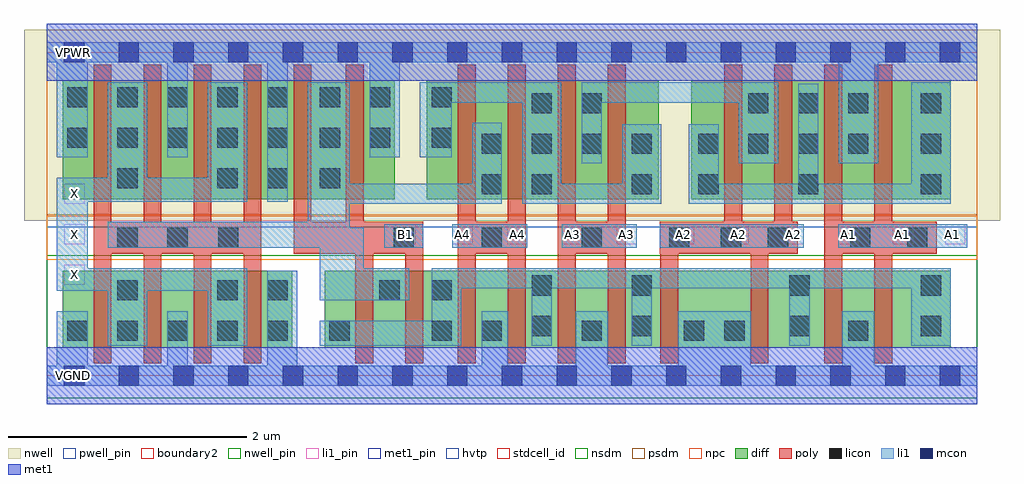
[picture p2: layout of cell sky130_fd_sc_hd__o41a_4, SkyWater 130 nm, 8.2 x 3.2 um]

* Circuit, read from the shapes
.subckt sky130_fd_sc_hd__o41a_4 A1 A2 A3 A4 B1 VGND VNB VPB VPWR X
XM1 X n1 VGND VNB sky130_fd_pr__nfet_01v8 w=0.65 l=0.15 m=4
XM2 n1 B1 n2 VNB sky130_fd_pr__nfet_01v8 w=0.65 l=0.15 m=2
XM3 VGND A4 n2 VNB sky130_fd_pr__nfet_01v8 w=0.65 l=0.15 m=2
XM4 VGND A3 n2 VNB sky130_fd_pr__nfet_01v8 w=0.65 l=0.15 m=2
XM5 VGND A2 n2 VNB sky130_fd_pr__nfet_01v8 w=0.65 l=0.15 m=2
XM6 VGND A1 n2 VNB sky130_fd_pr__nfet_01v8 w=0.65 l=0.15 m=2
XM7 X n1 VPWR VPB sky130_fd_pr__pfet_01v8_hvt w=1 l=0.15 m=4
XM8 n1 B1 VPWR VPB sky130_fd_pr__pfet_01v8_hvt w=1 l=0.15 m=2
XM9 n1 A4 n3 VPB sky130_fd_pr__pfet_01v8_hvt w=1 l=0.15 m=2
XM10 n4 A3 n3 VPB sky130_fd_pr__pfet_01v8_hvt w=1 l=0.15 m=2
XM11 n4 A2 n5 VPB sky130_fd_pr__pfet_01v8_hvt w=1 l=0.15 m=2
XM12 VPWR A1 n5 VPB sky130_fd_pr__pfet_01v8_hvt w=1 l=0.15 m=2
.ends

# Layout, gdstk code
import gdstk
lib = gdstk.Library(unit=1e-6, precision=1e-09)
def R(c, l, rs):  # rectangles x0, y0, x1, y1
    for r in rs: c.add(gdstk.rectangle(r[:2], r[2:], *l))
def A(c, l, x, y, w, h, nx, ny, dx, dy):  # array of equal rectangles
    R(c, l, [(x+i*dx, y+j*dy, x+i*dx+w, y+j*dy+h) for i in range(nx) for j in range(ny)])
def P(c, l, *ps):  # polygons
    for p in ps: c.add(gdstk.Polygon(p, *l))
nwell_pin = (64, 16)
nwell = (64, 20)
diff = (65, 20)
poly = (66, 20)
licon = (66, 44)
li1_pin = (67, 16)
li1 = (67, 20)
mcon = (67, 44)
met1_pin = (68, 16)
met1 = (68, 20)
hvtp = (78, 44)
stdcell_id = (81, 4)
nsdm = (93, 44)
psdm = (94, 20)
npc = (95, 20)
pwell_pin = (122, 16)
boundary2 = (236, 0)

sky130_fd_sc_hd__o41a_4 = lib.new_cell('sky130_fd_sc_hd__o41a_4')
R(sky130_fd_sc_hd__o41a_4, nwell_pin, [(0.15,2.635,0.32,2.805)])
R(sky130_fd_sc_hd__o41a_4, nwell, [(-0.19,1.305,8.01,2.91)])
R(sky130_fd_sc_hd__o41a_4, diff, [(0.135,0.235,2.065,0.885), (2.335,0.235,7.595,0.885), (0.135,1.485,2.925,2.485), (3.195,1.485,5.145,2.485), (5.415,1.485,7.595,2.485)])
P(sky130_fd_sc_hd__o41a_4, poly, [(3.455,0.105),(3.455,2.615),(3.605,2.615),(3.605,1.295),(3.875,1.295),(3.875,2.615),(4.025,2.615),(4.025,0.105),(3.875,0.105),(3.875,1.025),(3.605,1.025),(3.605,0.105)],
  [(4.295,0.105),(4.295,2.615),(4.445,2.615),(4.445,1.295),(4.715,1.295),(4.715,2.615),(4.865,2.615),(4.865,0.105),(4.715,0.105),(4.715,1.025),(4.445,1.025),(4.445,0.105)],
  [(2.595,0.105),(2.595,1.025),(2.075,1.025),(2.075,2.615),(2.225,2.615),(2.225,1.295),(2.515,1.295),(2.515,2.615),(2.665,2.615),(2.665,1.295),(3.165,1.295),(3.165,0.105),(3.015,0.105),(3.015,1.025),(2.745,1.025),(2.745,0.105)],
  [(6.535,0.105),(6.535,2.615),(6.685,2.615),(6.685,1.295),(6.955,1.295),(6.955,2.615),(7.105,2.615),(7.105,1.295),(7.48,1.295),(7.48,1.025),(7.105,1.025),(7.105,0.105),(6.955,0.105),(6.955,1.025),(6.685,1.025),(6.685,0.105)],
  [(5.155,0.105),(5.155,1.025),(5.15,1.025),(5.15,1.295),(5.695,1.295),(5.695,2.615),(5.845,2.615),(5.845,1.295),(6.115,1.295),(6.115,2.615),(6.265,2.615),(6.265,1.295),(6.31,1.295),(6.31,1.025),(6.065,1.025),(6.065,0.105),(5.915,0.105),(5.915,1.025),(5.305,1.025),(5.305,0.105)],
  [(0.395,0.105),(0.395,2.615),(0.545,2.615),(0.545,1.295),(0.815,1.295),(0.815,2.615),(0.965,2.615),(0.965,1.295),(1.235,1.295),(1.235,2.615),(1.385,2.615),(1.385,1.295),(1.655,1.295),(1.655,2.615),(1.805,2.615),(1.805,0.105),(1.655,0.105),(1.655,1.025),(1.385,1.025),(1.385,0.105),(1.235,0.105),(1.235,1.025),(0.965,1.025),(0.965,0.105),(0.815,0.105),(0.815,1.025),(0.545,1.025),(0.545,0.105)])
A(sky130_fd_sc_hd__o41a_4, licon, 0.175, 0.295, 0.17, 0.17, 5, 2, 0.42, 1.62)
A(sky130_fd_sc_hd__o41a_4, licon, 7.345, 1.525, 0.17, 0.17, 1, 3, 0, 0.34)
A(sky130_fd_sc_hd__o41a_4, licon, 2.295, 1.575, 0.17, 0.17, 1, 3, 0, 0.34)
A(sky130_fd_sc_hd__o41a_4, licon, 3.655, 1.865, 0.17, 0.17, 4, 1, 0.42, 0)
A(sky130_fd_sc_hd__o41a_4, licon, 5.475, 1.865, 0.17, 0.17, 4, 1, 0.42, 0)
A(sky130_fd_sc_hd__o41a_4, licon, 5.895, 2.205, 0.17, 0.17, 3, 1, 0.42, 0)
A(sky130_fd_sc_hd__o41a_4, licon, 0.175, 2.255, 0.17, 0.17, 5, 1, 0.42, 0)
R(sky130_fd_sc_hd__o41a_4, licon, [(2.375,0.295,2.545,0.465), (3.235,0.295,3.405,0.465), (3.655,0.295,3.825,0.465), (4.495,0.295,4.665,0.465), (5.355,0.295,5.525,0.465), (5.695,0.295,5.865,0.465), (6.735,0.295,6.905,0.465), (4.075,0.335,4.245,0.505), (4.915,0.335,5.085,0.505), (6.24,0.335,6.41,0.505), (7.345,0.335,7.515,0.505), (0.595,0.635,0.765,0.805), (1.435,0.635,1.605,0.805), (1.855,0.635,2.025,0.805), (2.795,0.635,2.965,0.805), (3.235,0.635,3.405,0.805), (4.075,0.675,4.245,0.845), (4.915,0.675,5.085,0.845), (6.24,0.675,6.41,0.845), (7.345,0.675,7.515,0.845), (0.595,1.075,0.765,1.245), (1.015,1.075,1.185,1.245), (1.44,1.075,1.61,1.245), (2.915,1.075,3.085,1.245), (3.655,1.075,3.825,1.245), (4.495,1.075,4.665,1.245), (5.23,1.075,5.4,1.245), (5.665,1.075,5.835,1.245), (6.06,1.075,6.23,1.245), (6.75,1.075,6.92,1.245), (7.23,1.075,7.4,1.245), (3.655,1.525,3.825,1.695), (4.075,1.525,4.245,1.695), (4.915,1.525,5.085,1.695), (5.475,1.525,5.645,1.695), (6.315,1.525,6.485,1.695), (0.595,1.575,0.765,1.745), (1.435,1.575,1.605,1.745), (1.855,1.575,2.025,1.745), (2.715,1.915,2.885,2.085), (3.235,1.915,3.405,2.085), (4.075,2.205,4.245,2.375), (4.495,2.205,4.665,2.375), (2.715,2.255,2.885,2.425), (3.235,2.255,3.405,2.425)])
A(sky130_fd_sc_hd__o41a_4, li1_pin, 0.15, 0.765, 0.17, 0.17, 1, 3, 0, 0.34)
A(sky130_fd_sc_hd__o41a_4, li1_pin, 3.41, 1.105, 0.17, 0.17, 4, 1, 0.46, 0)
A(sky130_fd_sc_hd__o41a_4, li1_pin, 5.27, 1.105, 0.17, 0.17, 5, 1, 0.46, 0)
R(sky130_fd_sc_hd__o41a_4, li1_pin, [(2.93,1.105,3.1,1.275), (7.55,1.105,7.72,1.275)])
R(sky130_fd_sc_hd__o41a_4, li1, [(2.835,1.075,3.165,1.275), (3.41,1.075,4.04,1.275), (4.33,1.075,4.96,1.275), (5.15,1.075,6.36,1.275), (6.65,1.075,7.735,1.275)])
P(sky130_fd_sc_hd__o41a_4, li1, [(0,-0.085),(0,0.085),(0.085,0.085),(0.085,0.545),(0.345,0.545),(0.345,0.085),(1.015,0.085),(1.015,0.545),(1.185,0.545),(1.185,0.085),(1.855,0.085),(1.855,0.885),(2.105,0.885),(2.105,0.085),(3.655,0.085),(3.655,0.545),(3.875,0.545),(3.875,0.085),(4.445,0.085),(4.445,0.545),(4.715,0.545),(4.715,0.085),(5.305,0.085),(5.305,0.545),(5.915,0.545),(5.915,0.085),(6.685,0.085),(6.685,0.545),(6.955,0.545),(6.955,0.085),(7.82,0.085),(7.82,-0.085)],
  [(1.855,1.465),(1.855,2.635),(1.185,2.635),(1.185,1.835),(1.015,1.835),(1.015,2.635),(0.345,2.635),(0.345,1.835),(0.085,1.835),(0.085,2.635),(0,2.635),(0,2.805),(7.82,2.805),(7.82,2.635),(6.985,2.635),(6.985,1.785),(6.655,1.785),(6.655,2.635),(2.965,2.635),(2.965,1.835),(2.715,1.835),(2.715,2.635),(2.025,2.635),(2.025,1.465)],
  [(2.295,0.255),(2.295,0.465),(3.235,0.465),(3.235,0.905),(7.595,0.905),(7.595,0.255),(7.265,0.255),(7.265,0.735),(6.41,0.735),(6.41,0.255),(6.24,0.255),(6.24,0.735),(5.085,0.735),(5.085,0.255),(4.915,0.255),(4.915,0.735),(4.245,0.735),(4.245,0.255),(4.075,0.255),(4.075,0.735),(3.485,0.735),(3.485,0.255)],
  [(5.395,1.445),(5.395,2.115),(5.645,2.115),(5.645,1.615),(6.315,1.615),(6.315,2.455),(6.485,2.455),(6.485,1.615),(7.265,1.615),(7.265,2.465),(7.595,2.465),(7.595,1.445)],
  [(4.495,1.785),(4.495,2.465),(6.145,2.465),(6.145,1.785),(5.815,1.785),(5.815,2.295),(4.665,2.295),(4.665,1.785)],
  [(3.995,1.445),(3.995,2.295),(3.405,2.295),(3.405,1.835),(3.135,1.835),(3.135,2.465),(4.325,2.465),(4.325,1.615),(4.835,1.615),(4.835,2.115),(5.165,2.115),(5.165,1.445)],
  [(2.295,0.635),(2.295,1.075),(0.515,1.075),(0.515,1.295),(2.195,1.295),(2.195,2.465),(2.545,2.465),(2.545,1.615),(3.575,1.615),(3.575,2.125),(3.825,2.125),(3.825,1.445),(2.545,1.445),(2.545,1.245),(2.665,1.245),(2.665,0.905),(3.045,0.905),(3.045,0.635)],
  [(0.515,0.255),(0.515,0.715),(0.085,0.715),(0.085,1.665),(0.515,1.665),(0.515,2.465),(0.845,2.465),(0.845,1.665),(1.355,1.665),(1.355,2.465),(1.685,2.465),(1.685,1.465),(0.345,1.465),(0.345,0.905),(1.685,0.905),(1.685,0.255),(1.355,0.255),(1.355,0.715),(0.845,0.715),(0.845,0.255)])
A(sky130_fd_sc_hd__o41a_4, mcon, 0.145, -0.085, 0.17, 0.17, 17, 2, 0.46, 2.72)
R(sky130_fd_sc_hd__o41a_4, met1_pin, [(0.15,-0.085,0.32,0.085), (0.15,2.635,0.32,2.805)])
R(sky130_fd_sc_hd__o41a_4, hvtp, [(0,1.25,7.82,2.72)])
R(sky130_fd_sc_hd__o41a_4, stdcell_id, [(0,0,7.82,2.72)])
R(sky130_fd_sc_hd__o41a_4, nsdm, [(0,-0.19,7.82,1.015)])
R(sky130_fd_sc_hd__o41a_4, psdm, [(0,1.355,7.82,2.91)])
R(sky130_fd_sc_hd__o41a_4, npc, [(0,0.975,7.82,1.345)])
R(sky130_fd_sc_hd__o41a_4, pwell_pin, [(0.15,-0.085,0.32,0.085)])
R(sky130_fd_sc_hd__o41a_4, boundary2, [(0,0,7.82,2.72)])
sky130_fd_sc_hd__o41a_4.add(gdstk.FlexPath([(0,0),(7.82,0)], 0.48, ends="flush", simple_path=True, layer=68, datatype=20))  # met1
sky130_fd_sc_hd__o41a_4.add(gdstk.FlexPath([(0,2.72),(7.82,2.72)], 0.48, ends="flush", simple_path=True, layer=68, datatype=20))  # met1
sky130_fd_sc_hd__o41a_4.add(gdstk.Label('X', (0.235,0.85), layer=67, texttype=5))
sky130_fd_sc_hd__o41a_4.add(gdstk.Label('X', (0.235,1.19), layer=67, texttype=5))
sky130_fd_sc_hd__o41a_4.add(gdstk.Label('X', (0.235,1.53), layer=67, texttype=5))
sky130_fd_sc_hd__o41a_4.add(gdstk.Label('B1', (3.015,1.19), layer=67, texttype=5))
sky130_fd_sc_hd__o41a_4.add(gdstk.Label('A4', (3.495,1.19), layer=67, texttype=5))
sky130_fd_sc_hd__o41a_4.add(gdstk.Label('A4', (3.955,1.19), layer=67, texttype=5))
sky130_fd_sc_hd__o41a_4.add(gdstk.Label('A3', (4.415,1.19), layer=67, texttype=5))
sky130_fd_sc_hd__o41a_4.add(gdstk.Label('A3', (4.875,1.19), layer=67, texttype=5))
sky130_fd_sc_hd__o41a_4.add(gdstk.Label('A2', (5.355,1.19), layer=67, texttype=5))
sky130_fd_sc_hd__o41a_4.add(gdstk.Label('A2', (5.815,1.19), layer=67, texttype=5))
sky130_fd_sc_hd__o41a_4.add(gdstk.Label('A2', (6.275,1.19), layer=67, texttype=5))
sky130_fd_sc_hd__o41a_4.add(gdstk.Label('A1', (6.735,1.19), layer=67, texttype=5))
sky130_fd_sc_hd__o41a_4.add(gdstk.Label('A1', (7.195,1.19), layer=67, texttype=5))
sky130_fd_sc_hd__o41a_4.add(gdstk.Label('A1', (7.615,1.19), layer=67, texttype=5))
sky130_fd_sc_hd__o41a_4.add(gdstk.Label('VPWR', (0.23,2.72), layer=68, texttype=5))
sky130_fd_sc_hd__o41a_4.add(gdstk.Label('VGND', (0.23,0), layer=68, texttype=5))
sky130_fd_sc_hd__o41a_4.add(gdstk.Label('o41a_4', (0,0), layer=83, texttype=44))
sky130_fd_sc_hd__o41a_4.add(gdstk.Label('VPB', (0.23,2.72), layer=64, texttype=5))
sky130_fd_sc_hd__o41a_4.add(gdstk.Label('VNB', (0.23,0), layer=64, texttype=59))

lib.write_gds('sky130_fd_sc_hd__o41a_4.gds')
